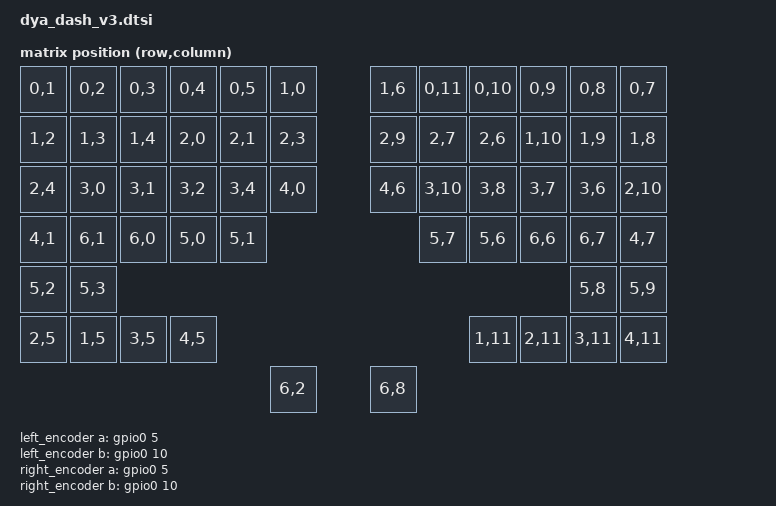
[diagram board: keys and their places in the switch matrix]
#include <behaviors/default_layer.dtsi>
#include <behaviors/animation_trigger.dtsi>
#include <dt-bindings/input/input-event-codes.h>
#include <dt-bindings/led/led.h>
#include <dt-bindings/zmk_driver_animation/animation_control.h>
#include <dt-bindings/zmk_driver_animation/animation_trigger.h>
#include <zmk_driver_animation/animation.dtsi>
#include <zmk_driver_animation/animation_layer_status.dtsi>

#include <input/processors.dtsi>
#include <input/processors/runtime-input-processor.dtsi>
#include <dt-bindings/zmk/matrix_transform.h>
#include <dt-bindings/zmk/runtime_input_processor.h>
#include "dya_dash_v3-layouts.dtsi"

/ {
	chosen {
		zmk,physical-layout = &default_layout;
		zmk,animation = &animation_control;
		zmk,animation-control = &animation_control;
	};
	
	animation: animation {
		compatible = "zmk,animation";
		drivers = <&led_strip>;
		pixels = <&pixel 0 0>,
		<&pixel 1 0>,
		<&pixel 2 0>,
		<&pixel 3 0>;
		chain-lengths = <4>;
	};
	
	animations {
		/omit-if-no-ref/ animation_control: control {
			compatible = "zmk,animation-control";
			label = "ANIMATION_CTRL_0";
			powered-animations = <&endpoint_status_animation &rainbow_animation>;
			battery-animations = <&empty_animation>;
			behavior-animations = <&battery_status_animation &endpoint_status_animation &animation_layer_status>;
			init-animation = <&init_animation>;
			activation-animation = <&battery_status_animation>;
			activation-animation-duration-ms = <1000>;
			ext-power = <&led_power>;
		};
		/omit-if-no-ref/ init_animation: init {
			compatible = "zmk,animation-compose";
			animations = <&battery_status_animation &black_animation &endpoint_status_animation>;
			durations-ms = <1000 200 1000>;
		};
		/omit-if-no-ref/ black_animation: black {
			compatible = "zmk,animation-solid";
			pixels = <0 1 2 3>;
			colors = <HSL(0, 0, 0)>;
		};
		
		/omit-if-no-ref/ empty_animation: empty {
			compatible = "zmk,animation-empty";
			status = "okay";
		};
		/omit-if-no-ref/ rainbow_animation: rainbow {
			compatible = "zmk,animation-solid";
			status = "okay";
			pixels = <0 1 2 3>;
			colors = <HSL(0, 100, 50) HSL(60, 100, 50) HSL(120, 100, 50) HSL(180, 100, 50) HSL(240, 100, 50) HSL(300, 100, 50)>;
		};
		/omit-if-no-ref/ red_animation: red {
			compatible = "zmk,animation-solid";
			status = "okay";
			pixels = <0 1 2 3>;
			colors = <HSL(0, 100, 50)>;
		};
		/omit-if-no-ref/ endpoint_status_animation: endpoint_status {
			compatible = "zmk,animation-endpoint";
			status = "okay";
			pixels = <0 1 2 3>;
			color-open = <HSL(60, 100, 50)>;
			color-connected = <HSL(240, 100, 50)>;
			color-disconnected = <HSL(0, 100, 50)>;
			color-usb = <HSL(120, 100, 25)>;
		};
		/omit-if-no-ref/ battery_status_animation: battery_status {
			compatible = "zmk,animation-battery-status";
			status = "okay";
			pixels = <0 1 2 3>;
			color-high = <HSL(120, 100, 50)>;// green
			color-middle = <HSL(60, 100, 50)>;// yellow
			color-low = <HSL(0, 100, 50)>;// red
		};
	};
	
	default_transform: keymap_transform_0 {
		compatible = "zmk,matrix-transform";
		columns = <12>;
		rows = <6>;
		map = <
		// R3
		// 0 1 2 3 4 5                                                 6 7 8 9 10 11
		RC(0, 1) RC(0, 2) RC(0, 3) RC(0, 4) RC(0, 5) RC(1, 0)          RC(1, 6) RC(0, 11) RC(0, 10) RC(0, 9) RC(0, 8) RC(0, 7)
		// R2
		// 12 13 14 15 16 17                                           18 19 20 21 22 23
		RC(1, 2) RC(1, 3) RC(1, 4) RC(2, 0) RC(2, 1) RC(2, 3)          RC(2, 9) RC(2, 7) RC(2, 6) RC(1, 10) RC(1, 9) RC(1, 8)
		// R1
		// 24 25 26 27 28 29                                           30 31 32 33 34 35
		RC(2, 4) RC(3, 0) RC(3, 1) RC(3, 2) RC(3, 4) RC(4, 0)          RC(4, 6) RC(3, 10) RC(3, 8) RC(3, 7) RC(3, 6) RC(2, 10)
		// R0
		// (36) (37 38) 39 40                                          41 42 (43 44) (45)  - Thumb switch module, optional encoder
		RC(4, 1) RC(6, 1) RC(6, 0) RC(5, 0) RC(5, 1)                   RC(5, 7) RC(5, 6) RC(6, 6) RC(6, 7) RC(4, 7)
		// Setting switches
		// 46 47                                                       48 49
		RC(5, 2) RC(5, 3)                                              RC(5, 8) RC(5, 9)
		// Touch sensors
		// TOUCH1, TOUCH2, TOUCH3, TOUCH4                              // TOUCH1 (K) , TOUCH2 (L), TOUCH3 (O), TOUCH4 (sum finger)
		// 50 51 52 53                                                 54 55 56 57
		RC(2, 5) RC(1, 5) RC(3, 5) RC(4, 5)                            RC(1, 11) RC(2, 11) RC(3, 11) RC(4, 11)
		// Thumb Encoder module click
		// 58 59
		RC(6, 2) RC(6, 8)
		>;
	};
	
	kscan0: kscan_composite {
		compatible = "zmk,kscan-composite";
		rows = <7>;// 6 + 1
		columns = <12>;
		
		matrix {
			kscan = <&kscan_matrix>;
		};
		// Direct GPIO is added by snippet
	};
	
	kscan_matrix: kscan_matrix {
		compatible = "zmk,kscan-gpio-charlieplex";
		gpios = <&xiao_d 9 (GPIO_ACTIVE_HIGH)>
		, <&gpio1 5  (GPIO_ACTIVE_HIGH)>
		, <&gpio1 7  (GPIO_ACTIVE_HIGH)>
		, <&xiao_d 10 (GPIO_ACTIVE_HIGH)>
		, <&gpio1 1  (GPIO_ACTIVE_HIGH)>
		, <&xiao_d 2 (GPIO_ACTIVE_HIGH)>
		;
		wakeup-source;
		interrupt-gpios = <&xiao_d 8 (GPIO_ACTIVE_HIGH | GPIO_PULL_DOWN)>;
	};
	
	led_power:led_power {
		compatible = "zmk,ext-power-transient";
		control-gpios = <&gpio0 19 (GPIO_ACTIVE_LOW)>;
	};
	
	// Disabled default. Enabled by right-trackball snippet.
	trackball_listener: trackball_listener_0 {
		compatible = "zmk,input-listener";
		status = "disabled";
		input-processors = <&mouse_runtime_input_processor &scroll_runtime_input_processor>;
	};
	// Enabled by default to support trackball on peripheral side.
	trackball_listener_l: trackball_listener_1 {
		compatible = "zmk,input-listener";
		device = <&peripheral_trackball>;
		input-processors = <&mouse_runtime_input_processor_l &scroll_runtime_input_processor_l>;
	};
	
	split_inputs {
		#address-cells = <1>;
		#size-cells = <0>;
		
		peripheral_trackball: peripheral_trackball@0 {
			compatible = "zmk,input-split";
			reg = <0>;
		};
	};
	
	mouse_runtime_input_processor_l: mouse_runtime_input_processor_l {
		compatible = "zmk,input-processor-runtime";
		processor-label = "lmouse";
		type = <INPUT_EV_REL>;
		x-codes = <INPUT_REL_X>;
		y-codes = <INPUT_REL_Y>;
		track-remainders;
		
		temp-layer-transparent-behavior = <&trans>;
		temp-layer-kp-behavior = <&kp>;
		temp-layer-keep-keycodes = <LEFT_CONTROL LEFT_SHIFT LEFT_ALT LEFT_GUI RIGHT_CONTROL RIGHT_SHIFT RIGHT_ALT RIGHT_GUI>;
		
		#input-processor-cells = <0>;
	};
	
	scroll_runtime_input_processor_l: scroll_runtime_input_processor_l {
		compatible = "zmk,input-processor-runtime";
		processor-label = "lscroll";
		type = <INPUT_EV_REL>;
		// Instead of consuming REL_WHEEL, process REL_X, REL_Y and convert to scroll events
		x-codes = <INPUT_REL_X>;
		y-codes = <INPUT_REL_Y>;
		xy-to-scroll-enabled;
		track-remainders;
		
		scale-divisor = <60>;
		// active layers = <BIT(9)>;
		
		temp-layer-transparent-behavior = <&trans>;
		temp-layer-kp-behavior = <&kp>;
		temp-layer-keep-keycodes = <LEFT_CONTROL LEFT_SHIFT LEFT_ALT LEFT_GUI RIGHT_CONTROL RIGHT_SHIFT RIGHT_ALT RIGHT_GUI>;
		
		axis-snap-mode = <AXIS_SNAP_MODE_Y>;
		axis-snap-threshold = <600>;
		
		#input-processor-cells = <0>;
	};
	
	left_encoder: encoder_left {
		compatible = "alps,ec11";
		a-gpios = <&gpio0 5 (GPIO_ACTIVE_HIGH | GPIO_PULL_UP)>;
		b-gpios = <&gpio0 10 (GPIO_ACTIVE_HIGH | GPIO_PULL_UP)>;
		steps = <24>;
		status = "disabled";
	};
	right_encoder: right_encoder {
		compatible = "alps,ec11";
		a-gpios = <&gpio0 5 (GPIO_ACTIVE_HIGH | GPIO_PULL_UP)>;
		b-gpios = <&gpio0 10 (GPIO_ACTIVE_HIGH | GPIO_PULL_UP)>;
		steps = <24>;
		status = "disabled";
	};
	left_thumb_encoder: left_thumb_encoder {
		compatible = "alps,ec11";
		status = "disabled";
		steps = <24>;
	};
	right_thumb_encoder: right_thumb_encoder {
		compatible = "alps,ec11";
		status = "disabled";
		steps = <24>;
	};
	
	sensors: sensors {
		compatible = "zmk,keymap-sensors";
		sensors = <&left_encoder &right_encoder &left_thumb_encoder &right_thumb_encoder>;
		triggers-per-rotation = <20>;
	};
	
	wired_split {
		compatible = "zmk,wired-split";
		device = <&uart0>;
		half-duplex;
	};
};

&mouse_runtime_input_processor {
	processor-label = "mouse";
};

&scroll_runtime_input_processor {
	processor-label = "scroll";
	
	// Instead of consuming REL_WHEEL, process REL_X, REL_Y and convert to scroll events
	x-codes = <INPUT_REL_X>;
	y-codes = <INPUT_REL_Y>;
	xy-to-scroll-enabled;
	
	axis-snap-mode = <AXIS_SNAP_MODE_Y>;
	axis-snap-threshold = <200>;
	
	xy-to-scroll-enabled;
};

// Use NFC pins as GPIOs
&uicr {
	nfct-pins-as-gpios;
};

//
// pinctrl for LED strip (WS2812 2020)
//

&pinctrl {
	spi3_default: spi3_default {
		group1 {
			psels = <NRF_PSEL(SPIM_MOSI, 0, 3)>;// D1
		};
	};
	
	spi3_sleep: spi3_sleep {
		group1 {
			psels = <NRF_PSEL(SPIM_MOSI, 0, 3)>;
			low-power-enable;
		};
	};
};

&spi3 {
	compatible = "nordic,nrf-spim";
	status = "okay";
	
	pinctrl-0 = <&spi3_default>;
	pinctrl-1 = <&spi3_sleep>;
	pinctrl-names = "default", "sleep";
	
	led_strip: ws2812@0 {
		compatible = "worldsemi,ws2812-spi";
		reg = <0>;
		// Note: Frequency should be between 2.5MHz to 5MHz
		// 2.5MHz := 1sec / 0.4us
		//           where 0.4us is min (T0H max, T0L max, T1H max, T1L max)
		//                 T0H max = 0.4us, T1H max = 1.0us, T0L,T1L max = 20us
		// 5MHz := min(1sec / 0.2us, 1sec / 1.2us * 8bit)
		//           where 0.2us is min (T0H min, T0L min, T1H min, T1L min)
		//                               T0H min = 0.2us, T1L min = 0.2us, T1H min = 0.58us, T0L min = 0.8us
		//                 1.2us is T min
		//                 8bit is because this driver builds 1frame with 8bit (spi-one-frame, spi-zero-frame)
		spi-max-frequency = <4000000>;// 4MHz = 0.25us
		
		chain-length = <4>; /* number of LEDs */
		spi-one-frame = <0x70>;// 01110000 -> T1H = 0.25 * 3 = 0.75us is between 0.58 and 1.0
		spi-zero-frame = <0x40>;// 01000000 -> T0H = 0.25us is between 0.2 and 0.4
		color-mapping = <LED_COLOR_ID_GREEN
		LED_COLOR_ID_RED
		LED_COLOR_ID_BLUE>;
	};
};

&animation_layer_status {
	pixels = <0 1 2 3>;
	default-color = <HSL(240, 100, 50)>;
	// default
	// windows blue
	// mac red
	// ios white
	// linux orange
	colors = <
	0
	HSL(193, 100, 47)
	HSL(0, 100, 40)
	HSL(0, 100, 100)
	HSL(29, 88, 51)
	>;
};

&vbatt {
	io-channels = <&adc 0>;
	power-gpios;// unset
	output-ohms = <470000>;
	full-ohms = <(1000000 + 470000)>;
	// For Ni-Mh 1U
	mv-to-pct-thresholds = <1100 1150 1200 1220 1240 1260 1280 1300 1320 1350 1400>;
};

&spi0 {
	trackball_r: trackball_r@0 {
		status = "disabled";
		reg = <0>;
	};
	trackball_l: trackball_l@1 {
		status = "disabled";
		reg = <0>;
	};
};

&uart0 {
	compatible = "nordic,nrf-uarte";
	current-speed = <19200>;
	status = "okay";
	pinctrl-0 = <&uart0_rx>;
	pinctrl-1 = <&uart0_sleep>;
	pinctrl-2 = <&uart0_tx>;
	pinctrl-names = "rx", "sleep", "tx";
	half-duplex;
};

&pinctrl {
	uart0_rx: uart0_rx {
		group1 {
			psels = <NRF_PSEL(UART_RX, 0, 15)>;
			bias-pull-up;
		};
		group2 {
			psels = <NRF_PSEL_DISCONNECTED(UART_TX)>;
		};
	};
	uart0_sleep: uart0_sleep {
		group1 {
			psels = <NRF_PSEL(UART_RX, 0, 15)>, <NRF_PSEL_DISCONNECTED(UART_TX)>;
			low-power-enable;
		};
	};
	uart0_tx: uart0_tx {
		group1 {
			psels = <NRF_PSEL(UART_TX, 0, 15)>;
			bias-pull-up;
		};
		group2 {
			psels = <NRF_PSEL_DISCONNECTED(UART_RX)>;
		};
	};
};
